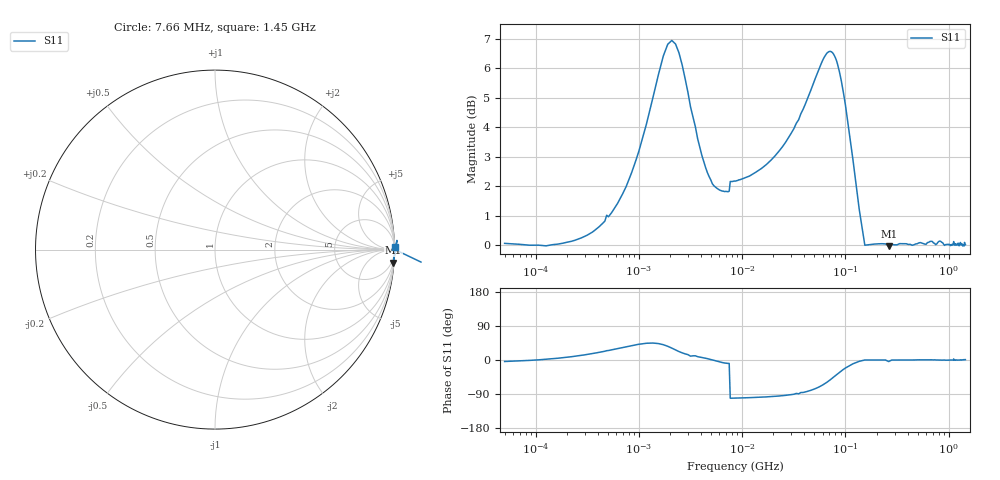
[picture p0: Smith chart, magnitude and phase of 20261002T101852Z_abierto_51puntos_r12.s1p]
! piloto_saltos / abierto_51puntos / r12
# HZ S RI R 50
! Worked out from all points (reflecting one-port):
!   251 points, 50 kHz to 1.45 GHz, reference 50 ohm
!   lowest |S11| = 0.0 dB at 262 MHz (marker M1), VSWR 612.32, Z = 62.2 - j1.38e+03 ohm
!   phase of S11 starts at -4 deg and turns +5 deg over the sweep
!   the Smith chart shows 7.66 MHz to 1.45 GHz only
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50000  1.005 -0.0695
183000  1.003 0.1057
354000  1.007 0.3067
658000  1.021 0.6302
1180000  1.15 1.117
1720000  1.592 1.356
2080000  1.898 1.158
2440000  1.96 0.8041
3160000  1.688 0.3026
3520000  1.558 0.3042
4600000  1.325 0.0828
7480000  1.22 -0.193
7660000  -0.242 -1.259
8560000  -0.233 -1.263
1.72e7  -0.1753 -1.36
3.16e7  -0.0119 -1.575
3.52e7  0.0216 -1.632
4.78e7  0.3673 -1.824
5.86e7  0.7723 -1.884
6.58e7  1.085 -1.814
7.48e7  1.428 -1.567
8.74e7  1.655 -1.062
1e8  1.611 -0.621
1.18e8  1.377 -0.2446
1.54e8  1.001 0.000857
2.62e8  0.9941 -0.0721
4.06e8  1.004 0.00187
1.45e9  1.003 0.0158
